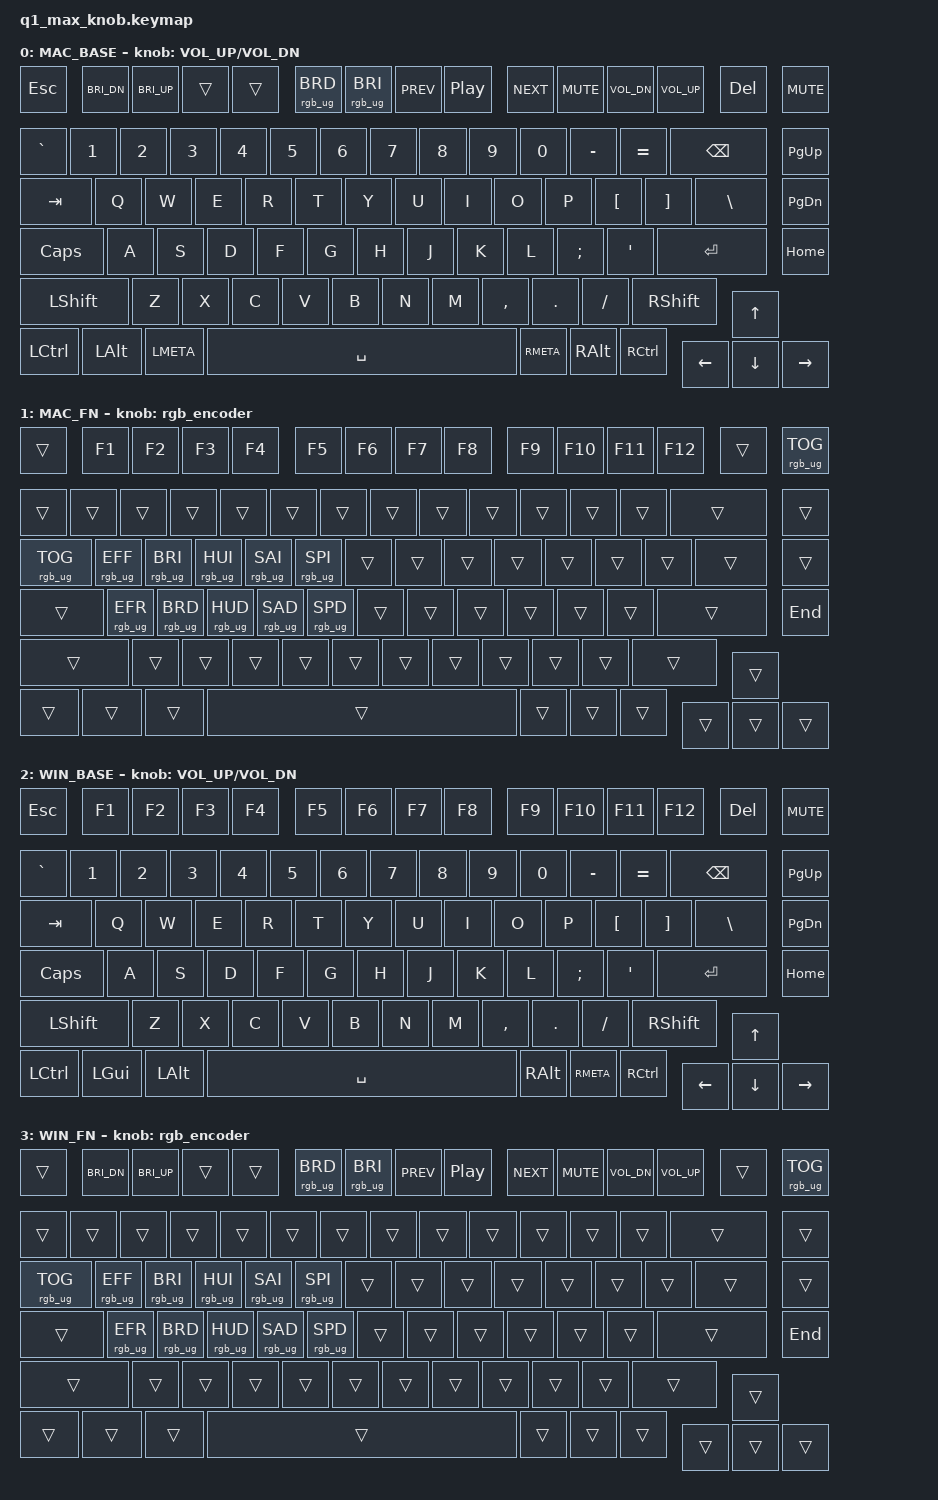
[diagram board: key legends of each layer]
// This file was generated from a template. Edit it to match your keyboard.
// See https://zmk.dev/docs/development/hardware-integration/new-shield for more instructions.

#include <behaviors.dtsi>
#include <dt-bindings/zmk/keys.h>
#include <dt-bindings/zmk/rgb.h>

/ {
    behaviors {
        rgb_encoder: rgb_encoder {
            compatible = "zmk,behavior-sensor-rotate";
            #sensor-binding-cells = <0>;
            bindings = <&rgb_ug RGB_BRI>, <&rgb_ug RGB_BRD>;
        };
    };

    keymap {
        compatible = "zmk,keymap";

        mac_base_layer {
            display-name = "MAC_BASE";
            sensor-bindings = <&inc_dec_kp C_VOL_UP C_VOL_DN>;
            bindings = <
                &kp ESC    &kp C_BRI_DN  &kp C_BRI_UP  &trans       &trans       &rgb_ug RGB_BRD  &rgb_ug RGB_BRI  &kp C_PREV  &kp C_PLAY_PAUSE  &kp C_NEXT  &kp K_MUTE  &kp C_VOL_DN  &kp C_VOL_UP  &kp DEL  /*____*/ &kp K_MUTE
                &kp GRAVE  &kp N1        &kp N2        &kp N3       &kp N4       &kp N5          &kp N6          &kp N7       &kp N8            &kp N9       &kp N0      &kp MINUS     &kp EQUAL     &kp BSPC /*____*/ &kp PG_UP
                &kp TAB    &kp Q         &kp W         &kp E        &kp R        &kp T           &kp Y           &kp U        &kp I             &kp O        &kp P       &kp LBKT      &kp RBKT      &kp BSLH /*____*/ &kp PG_DN
                &kp CAPS   &kp A         &kp S         &kp D        &kp F        &kp G           &kp H           &kp J        &kp K             &kp L        &kp SEMI    &kp SQT                     &kp ENTER /*____*/ &kp HOME
                &kp LSHFT  /*____*/     &kp Z         &kp X        &kp C        &kp V           &kp B           &kp N        &kp M             &kp COMMA    &kp DOT    &kp FSLH                   &kp RSHFT     &kp UP
                &kp LCTRL  &kp LALT      &kp LMETA     /*____ _____ _____*/     &kp SPACE       /*_______ __________ _______*/  &kp RMETA   &kp RALT    &kp RCTRL                                &kp LEFT       &kp DOWN   &kp RIGHT
            >;
        };

        mac_fn_layer {
            display-name = "MAC_FN";
            sensor-bindings = <&rgb_encoder>;
            bindings = <
                &trans     &kp F1        &kp F2        &kp F3       &kp F4       &kp F5          &kp F6          &kp F7       &kp F8            &kp F9       &kp F10     &kp F11       &kp F12       &trans /*____*/ &rgb_ug RGB_TOG
                &trans     &trans        &trans        &trans       &trans       &trans          &trans          &trans       &trans            &trans       &trans      &trans        &trans        &trans /*____*/ &trans
                &rgb_ug RGB_TOG  &rgb_ug RGB_EFF  &rgb_ug RGB_BRI  &rgb_ug RGB_HUI  &rgb_ug RGB_SAI  &rgb_ug RGB_SPI  &trans  &trans  &trans  &trans  &trans  &trans  &trans  &trans /*____*/ &trans
                &trans     &rgb_ug RGB_EFR  &rgb_ug RGB_BRD  &rgb_ug RGB_HUD  &rgb_ug RGB_SAD  &rgb_ug RGB_SPD  &trans  &trans  &trans  &trans  &trans  &trans                    &trans /*____*/ &kp END
                &trans     /*____*/     &trans        &trans       &trans       &trans          &trans          &trans       &trans            &trans       &trans      &trans                      &trans     &trans
                &trans     &trans        &trans        /*____ _____ _____*/     &trans          /*_______ __________ _______*/  &trans      &trans      &trans      &trans      &trans      &trans
            >;
        };

        win_base_layer {
            display-name = "WIN_BASE";
            sensor-bindings = <&inc_dec_kp C_VOL_UP C_VOL_DN>;
            bindings = <
                &kp ESC    &kp F1       &kp F2       &kp F3      &kp F4      &kp F5      &kp F6      &kp F7      &kp F8       &kp F9      &kp F10     &kp F11     &kp F12     &kp DEL  /*____*/ &kp K_MUTE
                &kp GRAVE  &kp N1       &kp N2       &kp N3      &kp N4      &kp N5      &kp N6      &kp N7      &kp N8       &kp N9      &kp N0      &kp MINUS   &kp EQUAL   &kp BSPC /*____*/ &kp PG_UP
                &kp TAB    &kp Q        &kp W        &kp E       &kp R       &kp T       &kp Y       &kp U       &kp I        &kp O       &kp P       &kp LBKT    &kp RBKT    &kp BSLH /*____*/ &kp PG_DN
                &kp CAPS   &kp A        &kp S        &kp D       &kp F       &kp G       &kp H       &kp J       &kp K        &kp L       &kp SEMI    &kp SQT                              &kp ENTER /*____*/ &kp HOME
                &kp LSHFT  /*____*/    &kp Z        &kp X       &kp C       &kp V       &kp B       &kp N       &kp M        &kp COMMA   &kp DOT     &kp FSLH                         &kp RSHFT     &kp UP
                &kp LCTRL  &kp LGUI     &kp LALT     /*____ _____ _____*/   &kp SPACE   /*_______ __________ _______*/  &kp RALT    &kp RMETA   &kp RCTRL   &kp LEFT   &kp DOWN   &kp RIGHT
            >;
        };

        win_fn_layer {
            display-name = "WIN_FN";
            sensor-bindings = <&rgb_encoder>;
            bindings = <
                &trans     &kp C_BRI_DN  &kp C_BRI_UP  &trans       &trans       &rgb_ug RGB_BRD  &rgb_ug RGB_BRI  &kp C_PREV  &kp C_PLAY_PAUSE  &kp C_NEXT  &kp K_MUTE  &kp C_VOL_DN  &kp C_VOL_UP  &trans /*____*/ &rgb_ug RGB_TOG
                &trans     &trans        &trans        &trans       &trans       &trans          &trans          &trans       &trans            &trans       &trans      &trans        &trans        &trans /*____*/ &trans
                &rgb_ug RGB_TOG  &rgb_ug RGB_EFF  &rgb_ug RGB_BRI  &rgb_ug RGB_HUI  &rgb_ug RGB_SAI  &rgb_ug RGB_SPI  &trans  &trans  &trans  &trans  &trans  &trans  &trans  &trans /*____*/ &trans
                &trans     &rgb_ug RGB_EFR  &rgb_ug RGB_BRD  &rgb_ug RGB_HUD  &rgb_ug RGB_SAD  &rgb_ug RGB_SPD  &trans  &trans  &trans  &trans  &trans  &trans                    &trans /*____*/ &kp END
                &trans     /*____*/     &trans        &trans       &trans       &trans          &trans          &trans       &trans            &trans       &trans      &trans                      &trans     &trans
                &trans     &trans        &trans        /*____ _____ _____*/     &trans          /*_______ __________ _______*/  &trans      &trans      &trans      &trans      &trans      &trans
            >;
        };
    };
};
